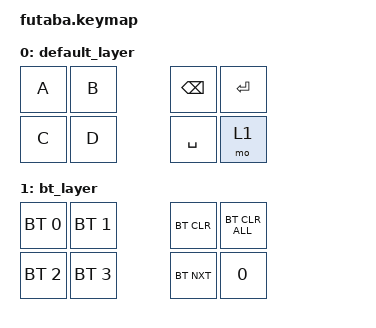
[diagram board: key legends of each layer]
#include <behaviors.dtsi>
#include <dt-bindings/zmk/bt.h>

/ {
    keymap {
        compatible = "zmk,keymap";

        default_layer {
            bindings = <
                &kp A &kp B &kp BACKSPACE &kp ENTER
                &kp C &kp D &kp SPACE     &mo 1
            >;
        };

        bt_layer {
            bindings = <
                &bt BT_SEL 0  &bt BT_SEL 1  &bt BT_CLR  &bt BT_CLR_ALL
                &bt BT_SEL 2  &bt BT_SEL 3  &bt BT_NXT  &kp N0 
            >;
        };
    };
};
